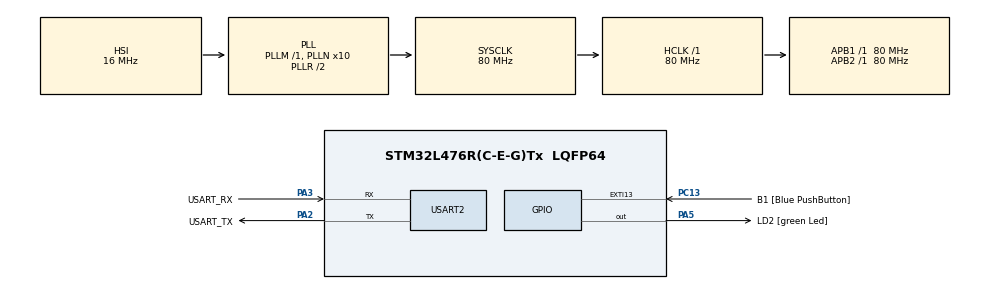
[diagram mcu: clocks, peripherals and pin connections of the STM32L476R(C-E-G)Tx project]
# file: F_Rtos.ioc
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FREERTOS.Tasks01=task01,24,128,StartTask01,Default,NULL,Dynamic,NULL,NULL;task02,8,128,StartTask02,Default,NULL,Dynamic,NULL,NULL
FREERTOS.configENABLE_FPU=0
FREERTOS.configUSE_NEWLIB_REENTRANT=1
Mcu.Family=STM32L4
Mcu.Name=STM32L476R(C-E-G)Tx
Mcu.Package=LQFP64
NVIC.PriorityGroup=NVIC_PRIORITYGROUP_4
NVIC.TIM6_DAC_IRQn=true\:15\:0\:false\:false\:true\:false\:false\:true\:true
NVIC.TimeBase=TIM6_DAC_IRQn
NVIC.TimeBaseIP=TIM6
PA13\ (JTMS-SWDIO).GPIO_Label=TMS
PA13\ (JTMS-SWDIO).Mode=Serial_Wire
PA13\ (JTMS-SWDIO).Signal=SYS_JTMS-SWDIO
PA14\ (JTCK-SWCLK).GPIO_Label=TCK
PA14\ (JTCK-SWCLK).Mode=Serial_Wire
PA14\ (JTCK-SWCLK).Signal=SYS_JTCK-SWCLK
PA2.GPIO_Label=USART_TX
PA2.GPIO_Mode=GPIO_MODE_AF_PP
PA2.GPIO_PuPd=GPIO_NOPULL
PA2.GPIO_Speed=GPIO_SPEED_FREQ_VERY_HIGH
PA2.Mode=Asynchronous
PA2.Signal=USART2_TX
PA3.GPIO_Label=USART_RX
PA3.GPIO_Mode=GPIO_MODE_AF_PP
PA3.GPIO_PuPd=GPIO_NOPULL
PA3.GPIO_Speed=GPIO_SPEED_FREQ_VERY_HIGH
PA3.Mode=Asynchronous
PA3.Signal=USART2_RX
PA5.GPIO_Label=LD2 [green Led]
PA5.GPIO_ModeDefaultOutputPP=GPIO_MODE_OUTPUT_PP
PA5.GPIO_PuPd=GPIO_NOPULL
PA5.GPIO_Speed=GPIO_SPEED_FREQ_LOW
PA5.Signal=GPIO_Output
PB3\ (JTDO-TRACESWO).GPIO_Label=SWO
PB3\ (JTDO-TRACESWO).Signal=SYS_JTDO-SWO
PC13.GPIO_Label=B1 [Blue PushButton]
PC13.GPIO_ModeDefaultEXTI=GPIO_MODE_IT_FALLING
PC13.GPIO_PuPd=GPIO_NOPULL
PC13.Signal=GPXTI13
PC14-OSC32_IN\ (PC14).Mode=LSE-External-Oscillator
PC14-OSC32_IN\ (PC14).Signal=RCC_OSC32_IN
PC15-OSC32_OUT\ (PC15).Mode=LSE-External-Oscillator
PC15-OSC32_OUT\ (PC15).Signal=RCC_OSC32_OUT
PH0-OSC_IN\ (PH0).Signal=RCC_OSC_IN
PH1-OSC_OUT\ (PH1).Signal=RCC_OSC_OUT
ProjectManager.HeapSize=0x200
ProjectManager.StackSize=0x400
ProjectManager.TargetToolchain=STM32CubeIDE
RCC.ADCFreq_Value=64000000
RCC.AHBFreq_Value=80000000
RCC.APB1Freq_Value=80000000
RCC.APB1TimFreq_Value=80000000
RCC.APB2Freq_Value=80000000
RCC.APB2TimFreq_Value=80000000
RCC.CortexFreq_Value=80000000
RCC.HCLKFreq_Value=80000000
RCC.HSE_VALUE=8000000
RCC.HSI_VALUE=16000000
RCC.MSI_VALUE=4000000
RCC.PLLN=10
RCC.PLLSourceVirtual=RCC_PLLSOURCE_HSI
RCC.PREFETCH_ENABLE=1
RCC.SYSCLKFreq_VALUE=80000000
RCC.SYSCLKSource=RCC_SYSCLKSOURCE_PLLCLK
RCC.USBFreq_Value=64000000
RCC.VCOOutputFreq_Value=160000000
USART2.VirtualMode-Asynchronous=VM_ASYNC
VP_FREERTOS_VS_CMSIS_V2.Mode=CMSIS_V2
VP_SYS_VS_tim6.Mode=TIM6
board=NUCLEO-L476RG

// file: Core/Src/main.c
/* USER CODE BEGIN Header */
/**
  ******************************************************************************
  * @file           : main.c
  * @brief          : Main program body
  ******************************************************************************
  * @attention
  *
  * Copyright (c) 2024 STMicroelectronics.
  * All rights reserved.
  *
  * This software is licensed under terms that can be found in the LICENSE file
  * in the root directory of this software component.
  * If no LICENSE file comes with this software, it is provided AS-IS.
  *
  ******************************************************************************
  */
/* USER CODE END Header */
#include "main.h"
#include "cmsis_os.h"

/* USER CODE BEGIN Includes */
#include <string.h>
#include <stdio.h>
#include <general.h>
/* USER CODE END Includes */

UART_HandleTypeDef huart2;

/* Definitions for task01 */
osThreadId_t task01Handle;
const osThreadAttr_t task01_attributes = {
  .name = "task01",
  .stack_size = 128 * 4,
  .priority = (osPriority_t) osPriorityNormal,
};
/* Definitions for task02 */
osThreadId_t task02Handle;
const osThreadAttr_t task02_attributes = {
  .name = "task02",
  .stack_size = 128 * 4,
  .priority = (osPriority_t) osPriorityLow,
};

void SystemClock_Config(void);
static void MX_GPIO_Init(void);
static void MX_USART2_UART_Init(void);
void StartTask01(void *argument);
void StartTask02(void *argument);

int main(void)
{

  /* MCU Configuration--------------------------------------------------------*/

  /* Reset of all peripherals, Initializes the Flash interface and the Systick. */
  HAL_Init();

  /* Configure the system clock */
  SystemClock_Config();

  /* Initialize all configured peripherals */
  MX_GPIO_Init();
  MX_USART2_UART_Init();

  /* Init scheduler */
  osKernelInitialize();

  /* Create the thread(s) */
  /* creation of task01 */
  task01Handle = osThreadNew(StartTask01, NULL, &task01_attributes);

  /* creation of task02 */
  task02Handle = osThreadNew(StartTask02, NULL, &task02_attributes);

  /* Start scheduler */
  osKernelStart();

  /* We should never get here as control is now taken by the scheduler */

  /* Infinite loop */
  while (1)
  {

  }
}

void SystemClock_Config(void)
{
  RCC_OscInitTypeDef RCC_OscInitStruct = {0};
  RCC_ClkInitTypeDef RCC_ClkInitStruct = {0};

  /** Configure the main internal regulator output voltage
  */
  if (HAL_PWREx_ControlVoltageScaling(PWR_REGULATOR_VOLTAGE_SCALE1) != HAL_OK)
  {
    Error_Handler();
  }

  /** Initializes the RCC Oscillators according to the specified parameters
  * in the RCC_OscInitTypeDef structure.
  */
  RCC_OscInitStruct.OscillatorType = RCC_OSCILLATORTYPE_HSI;
  RCC_OscInitStruct.HSIState = RCC_HSI_ON;
  RCC_OscInitStruct.HSICalibrationValue = RCC_HSICALIBRATION_DEFAULT;
  RCC_OscInitStruct.PLL.PLLState = RCC_PLL_ON;
  RCC_OscInitStruct.PLL.PLLSource = RCC_PLLSOURCE_HSI;
  RCC_OscInitStruct.PLL.PLLM = 1;
  RCC_OscInitStruct.PLL.PLLN = 10;
  RCC_OscInitStruct.PLL.PLLP = RCC_PLLP_DIV7;
  RCC_OscInitStruct.PLL.PLLQ = RCC_PLLQ_DIV2;
  RCC_OscInitStruct.PLL.PLLR = RCC_PLLR_DIV2;
  if (HAL_RCC_OscConfig(&RCC_OscInitStruct) != HAL_OK)
  {
    Error_Handler();
  }

  /** Initializes the CPU, AHB and APB buses clocks
  */
  RCC_ClkInitStruct.ClockType = RCC_CLOCKTYPE_HCLK|RCC_CLOCKTYPE_SYSCLK
                              |RCC_CLOCKTYPE_PCLK1|RCC_CLOCKTYPE_PCLK2;
  RCC_ClkInitStruct.SYSCLKSource = RCC_SYSCLKSOURCE_PLLCLK;
  RCC_ClkInitStruct.AHBCLKDivider = RCC_SYSCLK_DIV1;
  RCC_ClkInitStruct.APB1CLKDivider = RCC_HCLK_DIV1;
  RCC_ClkInitStruct.APB2CLKDivider = RCC_HCLK_DIV1;

  if (HAL_RCC_ClockConfig(&RCC_ClkInitStruct, FLASH_LATENCY_4) != HAL_OK)
  {
    Error_Handler();
  }
}

static void MX_USART2_UART_Init(void)
{

  huart2.Instance = USART2;
  huart2.Init.BaudRate = 115200;
  huart2.Init.WordLength = UART_WORDLENGTH_8B;
  huart2.Init.StopBits = UART_STOPBITS_1;
  huart2.Init.Parity = UART_PARITY_NONE;
  huart2.Init.Mode = UART_MODE_TX_RX;
  huart2.Init.HwFlowCtl = UART_HWCONTROL_NONE;
  huart2.Init.OverSampling = UART_OVERSAMPLING_16;
  huart2.Init.OneBitSampling = UART_ONE_BIT_SAMPLE_DISABLE;
  huart2.AdvancedInit.AdvFeatureInit = UART_ADVFEATURE_NO_INIT;
  if (HAL_UART_Init(&huart2) != HAL_OK)
  {
    Error_Handler();
  }

}

static void MX_GPIO_Init(void)
{
  GPIO_InitTypeDef GPIO_InitStruct = {0};

  /* GPIO Ports Clock Enable */
  __HAL_RCC_GPIOC_CLK_ENABLE();
  __HAL_RCC_GPIOH_CLK_ENABLE();
  __HAL_RCC_GPIOA_CLK_ENABLE();
  __HAL_RCC_GPIOB_CLK_ENABLE();

  /*Configure GPIO pin Output Level */
  HAL_GPIO_WritePin(LD2_GPIO_Port, LD2_Pin, GPIO_PIN_RESET);

  /*Configure GPIO pin : B1_Pin */
  GPIO_InitStruct.Pin = B1_Pin;
  GPIO_InitStruct.Mode = GPIO_MODE_IT_FALLING;
  GPIO_InitStruct.Pull = GPIO_NOPULL;
  HAL_GPIO_Init(B1_GPIO_Port, &GPIO_InitStruct);

  /*Configure GPIO pin : LD2_Pin */
  GPIO_InitStruct.Pin = LD2_Pin;
  GPIO_InitStruct.Mode = GPIO_MODE_OUTPUT_PP;
  GPIO_InitStruct.Pull = GPIO_NOPULL;
  GPIO_InitStruct.Speed = GPIO_SPEED_FREQ_LOW;
  HAL_GPIO_Init(LD2_GPIO_Port, &GPIO_InitStruct);

}

void StartTask01(void *argument)
{
  /* USER CODE BEGIN 5 */
  /* Infinite loop */
  for(;;)
  {
	  serialPrint("Task01");

	  for (int x = 0; x <5; x++){
		  static char text[128];
		  sprintf(text, "count task1 : %d", x);
		  serialPrint(text);
		  osDelay(500);
	  }
	  osDelay(1000);
  }
  osThreadTerminate(NULL);
  /* USER CODE END 5 */
}

void StartTask02(void *argument)
{
  /* USER CODE BEGIN StartTask02 */
  /* Infinite loop */
  for(;;)
  {
	  serialPrint("Task02");

	  for (int x = 0; x <3; x++){
		  static char text[128];
		  sprintf(text, "count task2 : %d", x);
		  serialPrint(text);
		  osDelay(500);
	  }
	  osDelay(1000);
  }
  osThreadTerminate(NULL);
  /* USER CODE END StartTask02 */
}

void HAL_TIM_PeriodElapsedCallback(TIM_HandleTypeDef *htim)
{
  if (htim->Instance == TIM6) {
    HAL_IncTick();
  }
}

void Error_Handler(void)
{
  __disable_irq();
  while (1)
  {
  }
}
